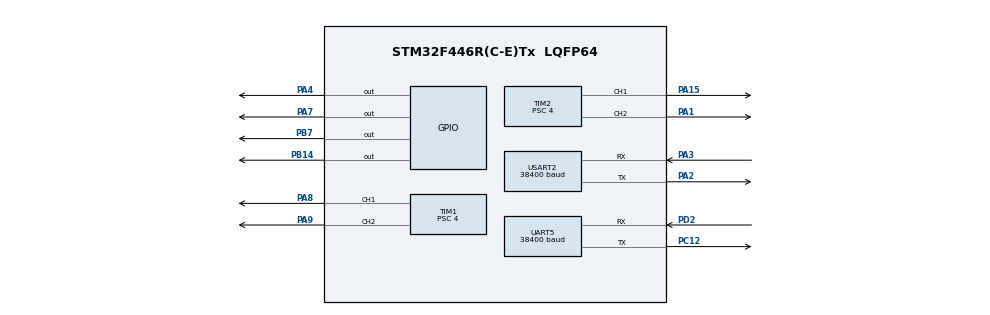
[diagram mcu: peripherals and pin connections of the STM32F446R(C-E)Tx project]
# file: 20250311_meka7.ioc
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Mcu.Family=STM32F4
Mcu.Name=STM32F446R(C-E)Tx
Mcu.Package=LQFP64
NVIC.PriorityGroup=NVIC_PRIORITYGROUP_4
NVIC.UART5_IRQn=true\:0\:0\:false\:false\:true\:true\:true\:true
PA1.Signal=S_TIM2_CH2
PA15.Signal=S_TIM2_CH1_ETR
PA2.Mode=Asynchronous
PA2.Signal=USART2_TX
PA3.Mode=Asynchronous
PA3.Signal=USART2_RX
PA4.Signal=GPIO_Output
PA7.Signal=GPIO_Output
PA8.Signal=S_TIM1_CH1
PA9.Signal=S_TIM1_CH2
PB14.Signal=GPIO_Output
PB7.Signal=GPIO_Output
PC12.Mode=Asynchronous
PC12.Signal=UART5_TX
PD2.Mode=Asynchronous
PD2.Signal=UART5_RX
ProjectManager.HeapSize=0x200
ProjectManager.StackSize=0x400
ProjectManager.TargetToolchain=STM32CubeIDE
RCC.CortexFreq_Value=16000000
RCC.USBFreq_Value=96000000
RCC.VCOOutputFreq_Value=192000000
SH.S_TIM1_CH1.0=TIM1_CH1,PWM Generation1 CH1
SH.S_TIM1_CH2.0=TIM1_CH2,PWM Generation2 CH2
SH.S_TIM2_CH1_ETR.0=TIM2_CH1,PWM Generation1 CH1
SH.S_TIM2_CH2.0=TIM2_CH2,PWM Generation2 CH2
TIM1.Channel-PWM\ Generation1\ CH1=TIM_CHANNEL_1
TIM1.Channel-PWM\ Generation2\ CH2=TIM_CHANNEL_2
TIM1.OC1Preload_PWM=DISABLE
TIM1.OC2Preload_PWM=DISABLE
TIM1.Period=255
TIM1.Prescaler=4
TIM2.Channel-PWM\ Generation1\ CH1=TIM_CHANNEL_1
TIM2.Channel-PWM\ Generation2\ CH2=TIM_CHANNEL_2
TIM2.OC1Preload_PWM=DISABLE
TIM2.OC2Preload_PWM=DISABLE
TIM2.Period=255
TIM2.Prescaler=4
UART5.BaudRate=38400
UART5.VirtualMode=Asynchronous
USART2.BaudRate=38400
USART2.VirtualMode=VM_ASYNC
board=custom

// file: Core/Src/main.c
/* USER CODE BEGIN Header */
/**
  ******************************************************************************
  * @file           : main.c
  * @brief          : Main program body
  ******************************************************************************
  * @attention
  *
  * Copyright (c) 2025 STMicroelectronics.
  * All rights reserved.
  *
  * This software is licensed under terms that can be found in the LICENSE file
  * in the root directory of this software component.
  * If no LICENSE file comes with this software, it is provided AS-IS.
  *
  ******************************************************************************
  */
/* USER CODE END Header */
#include "main.h"

/* USER CODE BEGIN Includes */
#include <stdio.h>
#include "STprintf.h"
#include "USART_Arduino_PS4.h"
#include "manydef.h"
#include "mekanamu.h"
/* USER CODE END Includes */

/* USER CODE BEGIN PD */
#define VALUE 7
/* USER CODE END PD */

TIM_HandleTypeDef htim1;
TIM_HandleTypeDef htim2;

UART_HandleTypeDef huart5;
UART_HandleTypeDef huart2;

void SystemClock_Config(void);
static void MX_GPIO_Init(void);
static void MX_USART2_UART_Init(void);
static void MX_TIM1_Init(void);
static void MX_TIM2_Init(void);
static void MX_UART5_Init(void);

int main(void)
{

  /* MCU Configuration--------------------------------------------------------*/

  /* Reset of all peripherals, Initializes the Flash interface and the Systick. */
  HAL_Init();

  /* Configure the system clock */
  SystemClock_Config();

  /* Initialize all configured peripherals */
  MX_GPIO_Init();
  MX_USART2_UART_Init();
  MX_TIM1_Init();
  MX_TIM2_Init();
  MX_UART5_Init();
  /* USER CODE BEGIN 2 */
  STprintf(&huart2);
  uint8_t Out[8] = {0};
  /* USER CODE END 2 */

  /* Infinite loop */
  /* USER CODE BEGIN WHILE */
  while (1)
  {
	  HAL_TIM_PWM_Start(&htim1, TIMCH_1);
	  HAL_TIM_PWM_Start(&htim1, TIMCH_2);
	  HAL_TIM_PWM_Start(&htim2, TIMCH_2);
	  HAL_TIM_PWM_Start(&htim2, TIMCH_1);
    /* USER CODE END WHILE */

    /* USER CODE BEGIN 3 */
	  getDataIT(&huart5);
//	  if(FAF == 1){
//		  AllShowP(data);
//	  }
//	  printf("%d ",FAF);
//	  printf("LX:%+4d LY:%+4d RX:%+4d RY:%+4d \r\n",halfX(data.LX),halfY(data.LY),halfX(data.RX),halfY(data.RY));
//	  HAL_Delay(250);
	  MoveST(Out,data.LX,data.LY,data.RY);
	  HAL_GPIO_WritePin(GPIOB, GPIO_Pin_14, !Out[0]);
	  HAL_GPIO_WritePin(GPIOA, GPIO_Pin_7,	!Out[1]);
	  HAL_GPIO_WritePin(GPIOA, GPIO_Pin_4, 	!Out[2]);
	  HAL_GPIO_WritePin(GPIOB, GPIO_Pin_7, 	!Out[3]);

	  __HAL_TIM_SET_COMPARE(&htim1,TIMCH_1,Out[4]);
	  __HAL_TIM_SET_COMPARE(&htim1,TIMCH_2,Out[5]);
	  __HAL_TIM_SET_COMPARE(&htim2,TIMCH_2,Out[6]);
	  __HAL_TIM_SET_COMPARE(&htim2,TIMCH_1,Out[7]);
	  printf("左上 %d %2X 右上 %d %2X 左下 %d %2X 右下 %d %2X\r\n",Out[0],Out[4],Out[1],Out[5],Out[2],Out[6],Out[3],Out[7]);
  }
  /* USER CODE END 3 */
}

void SystemClock_Config(void)
{
  RCC_OscInitTypeDef RCC_OscInitStruct = {0};
  RCC_ClkInitTypeDef RCC_ClkInitStruct = {0};

  /** Configure the main internal regulator output voltage
  */
  __HAL_RCC_PWR_CLK_ENABLE();
  __HAL_PWR_VOLTAGESCALING_CONFIG(PWR_REGULATOR_VOLTAGE_SCALE3);

  /** Initializes the RCC Oscillators according to the specified parameters
  * in the RCC_OscInitTypeDef structure.
  */
  RCC_OscInitStruct.OscillatorType = RCC_OSCILLATORTYPE_HSI;
  RCC_OscInitStruct.HSIState = RCC_HSI_ON;
  RCC_OscInitStruct.HSICalibrationValue = RCC_HSICALIBRATION_DEFAULT;
  RCC_OscInitStruct.PLL.PLLState = RCC_PLL_NONE;
  if (HAL_RCC_OscConfig(&RCC_OscInitStruct) != HAL_OK)
  {
    Error_Handler();
  }

  /** Initializes the CPU, AHB and APB buses clocks
  */
  RCC_ClkInitStruct.ClockType = RCC_CLOCKTYPE_HCLK|RCC_CLOCKTYPE_SYSCLK
                              |RCC_CLOCKTYPE_PCLK1|RCC_CLOCKTYPE_PCLK2;
  RCC_ClkInitStruct.SYSCLKSource = RCC_SYSCLKSOURCE_HSI;
  RCC_ClkInitStruct.AHBCLKDivider = RCC_SYSCLK_DIV1;
  RCC_ClkInitStruct.APB1CLKDivider = RCC_HCLK_DIV1;
  RCC_ClkInitStruct.APB2CLKDivider = RCC_HCLK_DIV1;

  if (HAL_RCC_ClockConfig(&RCC_ClkInitStruct, FLASH_LATENCY_0) != HAL_OK)
  {
    Error_Handler();
  }
}

static void MX_TIM1_Init(void)
{

  TIM_MasterConfigTypeDef sMasterConfig = {0};
  TIM_OC_InitTypeDef sConfigOC = {0};
  TIM_BreakDeadTimeConfigTypeDef sBreakDeadTimeConfig = {0};

  htim1.Instance = TIM1;
  htim1.Init.Prescaler = 4;
  htim1.Init.CounterMode = TIM_COUNTERMODE_UP;
  htim1.Init.Period = 255;
  htim1.Init.ClockDivision = TIM_CLOCKDIVISION_DIV1;
  htim1.Init.RepetitionCounter = 0;
  htim1.Init.AutoReloadPreload = TIM_AUTORELOAD_PRELOAD_DISABLE;
  if (HAL_TIM_PWM_Init(&htim1) != HAL_OK)
  {
    Error_Handler();
  }
  sMasterConfig.MasterOutputTrigger = TIM_TRGO_RESET;
  sMasterConfig.MasterSlaveMode = TIM_MASTERSLAVEMODE_DISABLE;
  if (HAL_TIMEx_MasterConfigSynchronization(&htim1, &sMasterConfig) != HAL_OK)
  {
    Error_Handler();
  }
  sConfigOC.OCMode = TIM_OCMODE_PWM1;
  sConfigOC.Pulse = 0;
  sConfigOC.OCPolarity = TIM_OCPOLARITY_HIGH;
  sConfigOC.OCNPolarity = TIM_OCNPOLARITY_HIGH;
  sConfigOC.OCFastMode = TIM_OCFAST_DISABLE;
  sConfigOC.OCIdleState = TIM_OCIDLESTATE_RESET;
  sConfigOC.OCNIdleState = TIM_OCNIDLESTATE_RESET;
  if (HAL_TIM_PWM_ConfigChannel(&htim1, &sConfigOC, TIM_CHANNEL_1) != HAL_OK)
  {
    Error_Handler();
  }
  __HAL_TIM_DISABLE_OCxPRELOAD(&htim1, TIM_CHANNEL_1);
  if (HAL_TIM_PWM_ConfigChannel(&htim1, &sConfigOC, TIM_CHANNEL_2) != HAL_OK)
  {
    Error_Handler();
  }
  __HAL_TIM_DISABLE_OCxPRELOAD(&htim1, TIM_CHANNEL_2);
  sBreakDeadTimeConfig.OffStateRunMode = TIM_OSSR_DISABLE;
  sBreakDeadTimeConfig.OffStateIDLEMode = TIM_OSSI_DISABLE;
  sBreakDeadTimeConfig.LockLevel = TIM_LOCKLEVEL_OFF;
  sBreakDeadTimeConfig.DeadTime = 0;
  sBreakDeadTimeConfig.BreakState = TIM_BREAK_DISABLE;
  sBreakDeadTimeConfig.BreakPolarity = TIM_BREAKPOLARITY_HIGH;
  sBreakDeadTimeConfig.AutomaticOutput = TIM_AUTOMATICOUTPUT_DISABLE;
  if (HAL_TIMEx_ConfigBreakDeadTime(&htim1, &sBreakDeadTimeConfig) != HAL_OK)
  {
    Error_Handler();
  }
  HAL_TIM_MspPostInit(&htim1);

}

static void MX_TIM2_Init(void)
{

  TIM_MasterConfigTypeDef sMasterConfig = {0};
  TIM_OC_InitTypeDef sConfigOC = {0};

  htim2.Instance = TIM2;
  htim2.Init.Prescaler = 4;
  htim2.Init.CounterMode = TIM_COUNTERMODE_UP;
  htim2.Init.Period = 255;
  htim2.Init.ClockDivision = TIM_CLOCKDIVISION_DIV1;
  htim2.Init.AutoReloadPreload = TIM_AUTORELOAD_PRELOAD_DISABLE;
  if (HAL_TIM_PWM_Init(&htim2) != HAL_OK)
  {
    Error_Handler();
  }
  sMasterConfig.MasterOutputTrigger = TIM_TRGO_RESET;
  sMasterConfig.MasterSlaveMode = TIM_MASTERSLAVEMODE_DISABLE;
  if (HAL_TIMEx_MasterConfigSynchronization(&htim2, &sMasterConfig) != HAL_OK)
  {
    Error_Handler();
  }
  sConfigOC.OCMode = TIM_OCMODE_PWM1;
  sConfigOC.Pulse = 0;
  sConfigOC.OCPolarity = TIM_OCPOLARITY_HIGH;
  sConfigOC.OCFastMode = TIM_OCFAST_DISABLE;
  if (HAL_TIM_PWM_ConfigChannel(&htim2, &sConfigOC, TIM_CHANNEL_1) != HAL_OK)
  {
    Error_Handler();
  }
  __HAL_TIM_DISABLE_OCxPRELOAD(&htim2, TIM_CHANNEL_1);
  if (HAL_TIM_PWM_ConfigChannel(&htim2, &sConfigOC, TIM_CHANNEL_2) != HAL_OK)
  {
    Error_Handler();
  }
  __HAL_TIM_DISABLE_OCxPRELOAD(&htim2, TIM_CHANNEL_2);
  HAL_TIM_MspPostInit(&htim2);

}

static void MX_UART5_Init(void)
{

  huart5.Instance = UART5;
  huart5.Init.BaudRate = 38400;
  huart5.Init.WordLength = UART_WORDLENGTH_8B;
  huart5.Init.StopBits = UART_STOPBITS_1;
  huart5.Init.Parity = UART_PARITY_NONE;
  huart5.Init.Mode = UART_MODE_TX_RX;
  huart5.Init.HwFlowCtl = UART_HWCONTROL_NONE;
  huart5.Init.OverSampling = UART_OVERSAMPLING_16;
  if (HAL_UART_Init(&huart5) != HAL_OK)
  {
    Error_Handler();
  }

}

static void MX_USART2_UART_Init(void)
{

  huart2.Instance = USART2;
  huart2.Init.BaudRate = 38400;
  huart2.Init.WordLength = UART_WORDLENGTH_8B;
  huart2.Init.StopBits = UART_STOPBITS_1;
  huart2.Init.Parity = UART_PARITY_NONE;
  huart2.Init.Mode = UART_MODE_TX_RX;
  huart2.Init.HwFlowCtl = UART_HWCONTROL_NONE;
  huart2.Init.OverSampling = UART_OVERSAMPLING_16;
  if (HAL_UART_Init(&huart2) != HAL_OK)
  {
    Error_Handler();
  }

}

static void MX_GPIO_Init(void)
{
  GPIO_InitTypeDef GPIO_InitStruct = {0};

  /* GPIO Ports Clock Enable */
  __HAL_RCC_GPIOA_CLK_ENABLE();
  __HAL_RCC_GPIOB_CLK_ENABLE();
  __HAL_RCC_GPIOC_CLK_ENABLE();
  __HAL_RCC_GPIOD_CLK_ENABLE();

  /*Configure GPIO pin Output Level */
  HAL_GPIO_WritePin(GPIOA, GPIO_PIN_4|GPIO_PIN_7, GPIO_PIN_RESET);

  /*Configure GPIO pin Output Level */
  HAL_GPIO_WritePin(GPIOB, GPIO_PIN_14|GPIO_PIN_7, GPIO_PIN_RESET);

  /*Configure GPIO pins : PA4 PA7 */
  GPIO_InitStruct.Pin = GPIO_PIN_4|GPIO_PIN_7;
  GPIO_InitStruct.Mode = GPIO_MODE_OUTPUT_PP;
  GPIO_InitStruct.Pull = GPIO_NOPULL;
  GPIO_InitStruct.Speed = GPIO_SPEED_FREQ_LOW;
  HAL_GPIO_Init(GPIOA, &GPIO_InitStruct);

  /*Configure GPIO pins : PB14 PB7 */
  GPIO_InitStruct.Pin = GPIO_PIN_14|GPIO_PIN_7;
  GPIO_InitStruct.Mode = GPIO_MODE_OUTPUT_PP;
  GPIO_InitStruct.Pull = GPIO_NOPULL;
  GPIO_InitStruct.Speed = GPIO_SPEED_FREQ_LOW;
  HAL_GPIO_Init(GPIOB, &GPIO_InitStruct);

}

void Error_Handler(void)
{
  __disable_irq();
  while (1)
  {
  }
}
